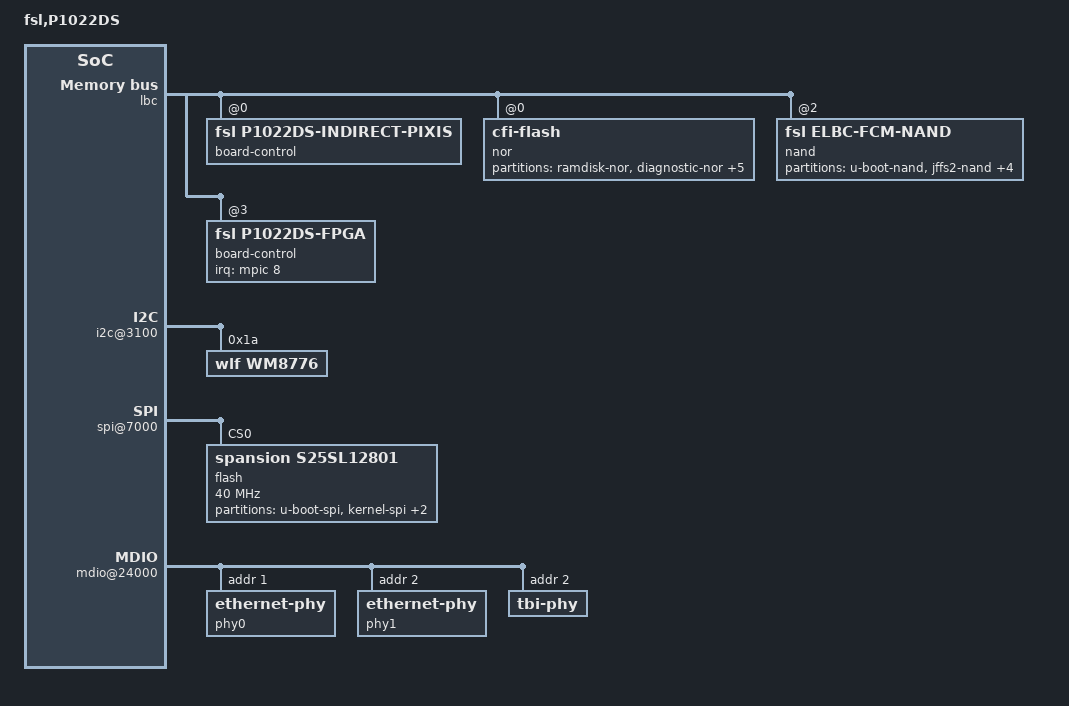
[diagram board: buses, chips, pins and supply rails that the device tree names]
/*
 * P1022 DS 36Bit Physical Address Map Device Tree Source
 *
 * Copyright 2010 Freescale Semiconductor, Inc.
 *
 * This file is licensed under the terms of the GNU General Public License
 * version 2.  This program is licensed "as is" without any warranty of any
 * kind, whether express or implied.
 */

/include/ "fsl/p1022si-pre.dtsi"
/ {
	model = "fsl,P1022DS";
	compatible = "fsl,P1022DS";

	memory {
		device_type = "memory";
	};

	lbc: localbus@fffe05000 {
		reg = <0xf 0xffe05000 0 0x1000>;
		ranges = <0x0 0x0 0xf 0xe8000000 0x08000000
			  0x1 0x0 0xf 0xe0000000 0x08000000
			  0x2 0x0 0xf 0xff800000 0x00040000
			  0x3 0x0 0xf 0xffdf0000 0x00008000>;

		/*
		 * This node is used to access the pixis via "indirect" mode,
		 * which is done by writing the pixis register index to chip
		 * select 0 and the value to/from chip select 1.  Indirect
		 * mode is the only way to access the pixis when DIU video
		 * is enabled.  Note that this assumes that the first column
		 * of the 'ranges' property above is the chip select number.
		 */
		board-control@0,0 {
			compatible = "fsl,p1022ds-indirect-pixis";
			reg = <0x0 0x0 1	/* CS0 */
			       0x1 0x0 1>;	/* CS1 */
		};

		nor@0,0 {
			#address-cells = <1>;
			#size-cells = <1>;
			compatible = "cfi-flash";
			reg = <0x0 0x0 0x8000000>;
			bank-width = <2>;
			device-width = <1>;

			partition@0 {
				reg = <0x0 0x03000000>;
				label = "ramdisk-nor";
				read-only;
			};

			partition@3000000 {
				reg = <0x03000000 0x00e00000>;
				label = "diagnostic-nor";
				read-only;
			};

			partition@3e00000 {
				reg = <0x03e00000 0x00200000>;
				label = "dink-nor";
				read-only;
			};

			partition@4000000 {
				reg = <0x04000000 0x00400000>;
				label = "kernel-nor";
				read-only;
			};

			partition@4400000 {
				reg = <0x04400000 0x03b00000>;
				label = "jffs2-nor";
			};

			partition@7f00000 {
				reg = <0x07f00000 0x00080000>;
				label = "dtb-nor";
				read-only;
			};

			partition@7f80000 {
				reg = <0x07f80000 0x00080000>;
				label = "u-boot-nor";
				read-only;
			};
		};

		nand@2,0 {
			#address-cells = <1>;
			#size-cells = <1>;
			compatible = "fsl,elbc-fcm-nand";
			reg = <0x2 0x0 0x40000>;

			partition@0 {
				reg = <0x0 0x02000000>;
				label = "u-boot-nand";
				read-only;
			};

			partition@2000000 {
				reg = <0x02000000 0x10000000>;
				label = "jffs2-nand";
			};

			partition@12000000 {
				reg = <0x12000000 0x10000000>;
				label = "ramdisk-nand";
				read-only;
			};

			partition@22000000 {
				reg = <0x22000000 0x04000000>;
				label = "kernel-nand";
			};

			partition@26000000 {
				reg = <0x26000000 0x01000000>;
				label = "dtb-nand";
				read-only;
			};

			partition@27000000 {
				reg = <0x27000000 0x19000000>;
				label = "reserved-nand";
			};
		};

		board-control@3,0 {
			compatible = "fsl,p1022ds-fpga", "fsl,fpga-ngpixis";
			reg = <3 0 0x30>;
			interrupt-parent = <&mpic>;
			/*
			 * IRQ8 is generated if the "EVENT" switch is pressed
			 * and PX_CTL[EVESEL] is set to 00.
			 */
			interrupts = <8 8 0 0>;
		};
	};

	soc: soc@fffe00000 {
		ranges = <0x0 0xf 0xffe00000 0x100000>;

		i2c@3100 {
			wm8776:codec@1a {
				compatible = "wlf,wm8776";
				reg = <0x1a>;
				/*
				 * clock-frequency will be set by U-Boot if
				 * the clock is enabled.
				 */
			};
		};

		spi@7000 {
			flash@0 {
				#address-cells = <1>;
				#size-cells = <1>;
				compatible = "spansion,s25sl12801";
				reg = <0>;
				spi-max-frequency = <40000000>; /* input clock */

				partition@0 {
					label = "u-boot-spi";
					reg = <0x00000000 0x00100000>;
					read-only;
				};
				partition@100000 {
					label = "kernel-spi";
					reg = <0x00100000 0x00500000>;
					read-only;
				};
				partition@600000 {
					label = "dtb-spi";
					reg = <0x00600000 0x00100000>;
					read-only;
				};
				partition@700000 {
					label = "file system-spi";
					reg = <0x00700000 0x00900000>;
				};
			};
		};

		ssi@15000 {
			fsl,mode = "i2s-slave";
			codec-handle = <&wm8776>;
			fsl,ssi-asynchronous;
		};

		usb@22000 {
			phy_type = "ulpi";
		};

		usb@23000 {
			status = "disabled";
		};

		mdio@24000 {
			phy0: ethernet-phy@0 {
				interrupts = <3 1 0 0>;
				reg = <0x1>;
			};
			phy1: ethernet-phy@1 {
				interrupts = <9 1 0 0>;
				reg = <0x2>;
			};
			tbi-phy@2 {
				device_type = "tbi-phy";
				reg = <0x2>;
			};
		};

		ethernet@b0000 {
			phy-handle = <&phy0>;
			phy-connection-type = "rgmii-id";
		};

		ethernet@b1000 {
			phy-handle = <&phy1>;
			phy-connection-type = "rgmii-id";
		};
	};

	pci0: pcie@fffe09000 {
		reg = <0xf 0xffe09000 0 0x1000>;
		ranges = <0x2000000 0x0 0xe0000000 0xc 0x20000000 0x0 0x20000000
			  0x1000000 0x0 0x00000000 0xf 0xffc10000 0x0 0x10000>;
		pcie@0 {
			ranges = <0x2000000 0x0 0xe0000000
				  0x2000000 0x0 0xe0000000
				  0x0 0x20000000

				  0x1000000 0x0 0x0
				  0x1000000 0x0 0x0
				  0x0 0x100000>;
		};
	};

	pci1: pcie@fffe0a000 {
		reg = <0xf 0xffe0a000 0 0x1000>;
		ranges = <0x2000000 0x0 0xe0000000 0xc 0x40000000 0x0 0x20000000
			  0x1000000 0x0 0x00000000 0xf 0xffc20000 0x0 0x10000>;
		pcie@0 {
			reg = <0x0 0x0 0x0 0x0 0x0>;
			ranges = <0x2000000 0x0 0xe0000000
				  0x2000000 0x0 0xe0000000
				  0x0 0x20000000

				  0x1000000 0x0 0x0
				  0x1000000 0x0 0x0
				  0x0 0x100000>;
		};
	};

	pci2: pcie@fffe0b000 {
		reg = <0xf 0xffe0b000 0 0x1000>;
		ranges = <0x2000000 0x0 0xe0000000 0xc 0x00000000 0x0 0x20000000
			  0x1000000 0x0 0x00000000 0xf 0xffc00000 0x0 0x10000>;
		pcie@0 {
			ranges = <0x2000000 0x0 0xe0000000
				  0x2000000 0x0 0xe0000000
				  0x0 0x20000000

				  0x1000000 0x0 0x0
				  0x1000000 0x0 0x0
				  0x0 0x100000>;
		};
	};
};

/include/ "fsl/p1022si-post.dtsi"
